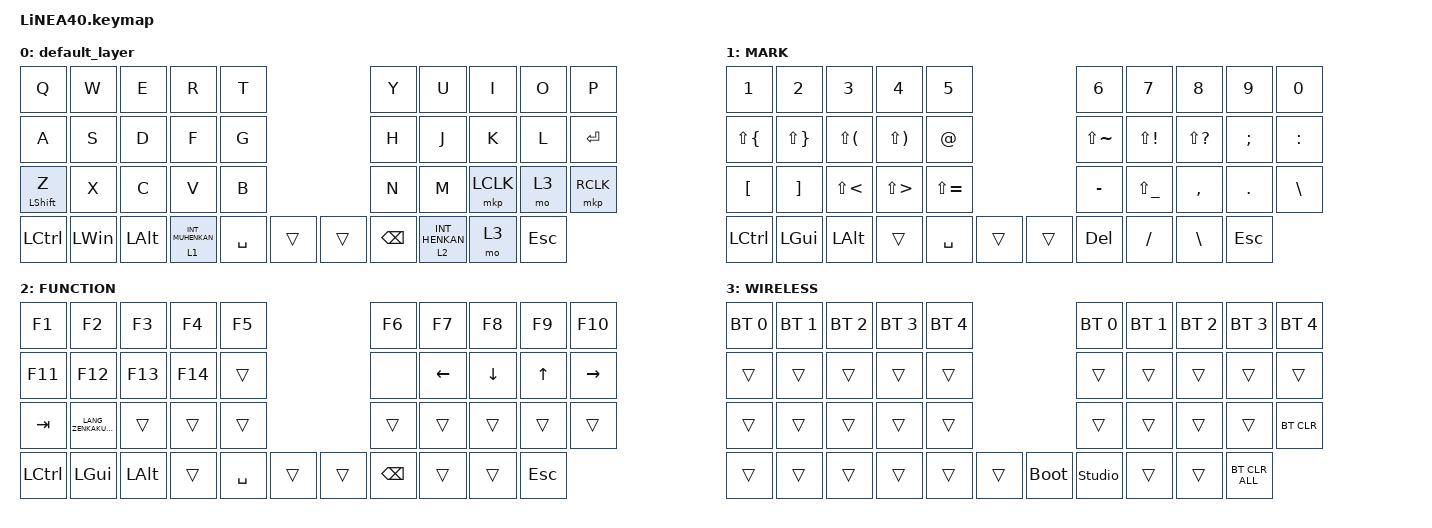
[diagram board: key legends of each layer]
#define ZMK_POINTING_DEFAULT_SCRL_VAL 150

#include <dt-bindings/zmk/input_transform.h>
#include <input/processors.dtsi>
#include <zephyr/dt-bindings/input/input-event-codes.h>
#include <behaviors.dtsi>
#include <dt-bindings/zmk/bt.h>
#include <dt-bindings/zmk/keys.h>
#include <dt-bindings/zmk/pointing.h>

#define MOUSE 1
#define MARK 2
#define CURSOR 3
#define FUNCTION 4
#define SCROLL 5
#define WIRELESS 6

//mouse cursol

&mmv {
    delay-ms = <20>;
    trigger-period-ms = <5>;
    time-to-max-speed-ms = <100>;
    acceleration-exponent = <2>;
};

//mouse scroll

&msc {
    delay-ms = <3>;
    trigger-period-ms = <3>;
    time-to-max-speed-ms = <100>;
    acceleration-exponent = <0>;
};

/ {
    input_processors {
        zip_wheel_scaler: zip_wheel_scaler {
            compatible = "zmk,input-processor-scaler";
            #input-processor-cells = <2>;
            type = <INPUT_EV_REL>;
            codes = <INPUT_REL_WHEEL>;
            track-remainders;
        };
    };
};

&msc_input_listener {
    speed_up {
        layers = <FUNCTION>;
        input-processors = <&zip_wheel_scaler 3 1>; //スクロールを3倍速にする
    };
};

&trackball_listener {
    scroller {
        layers = <SCROLL>;
        input-processors =
            <&zip_xy_transform INPUT_TRANSFORM_Y_INVERT>,
            //スクロール方向を逆転,,,,,
            <&zip_xy_to_scroll_mapper>;
    };
};

/ {
    combos { compatible = "zmk,combos"; };

    behaviors {
        re_kp: sensor_rotate_kp {
            compatible = "zmk,behavior-sensor-rotate-var";
            #sensor-binding-cells = <2>;
            bindings = <&kp>, <&kp>;
        };

        mouse_scrl: mouse_wheel_scrl {
            compatible = "zmk,behavior-sensor-rotate-var";
            #sensor-binding-cells = <2>;
            bindings = <&msc>, <&msc>;

            tap-ms = <20>;
        };
    };

    keymap {
        compatible = "zmk,keymap";

        default_layer {
            bindings = <
&kp Q             &kp W         &kp E     &kp R               &kp T                        &kp Y          &kp U  &kp I             &kp O  &kp P
&kp A             &kp S         &kp D     &kp F               &kp G                        &kp H          &kp J  &kp K             &kp L  &kp ENTER
&mt LEFT_SHIFT Z  &kp X         &kp C     &kp V               &kp B                        &kp N          &kp M  &mkp LCLK         &mo 3  &mkp RCLK
&kp LCTRL         &kp LEFT_WIN  &kp LALT  &lt 1 INT_MUHENKAN  &kp SPACE  &trans    &trans  &kp BACKSPACE         &lt 2 INT_HENKAN  &mo 3  &kp ESCAPE
            >;
        };

        //1

        MARK {
            bindings = <
&kp NUMBER_1  &kp N2        &kp N3        &kp N4        &kp N5                           &kp N6         &kp N7         &kp N8         &kp N9    &kp N0
&kp LS(LBRC)  &kp LS(RBRC)  &kp LS(LPAR)  &kp LS(RPAR)  &kp AT                           &kp LS(TILDE)  &kp LS(EXCL)   &kp LS(QMARK)  &kp SEMI  &kp COLON
&kp LBKT      &kp RBKT      &kp LS(LT)    &kp LS(GT)    &kp LS(EQUAL)                    &kp MINUS      &kp LS(UNDER)  &kp COMMA      &kp DOT   &kp BSLH
&kp LCTRL     &kp LGUI      &kp LALT      &trans        &kp SPACE      &trans    &trans  &kp DEL                       &kp FSLH       &kp BSLH  &kp ESCAPE
            >;
        };

        //2

        FUNCTION {
            bindings = <
&kp F1     &kp F2                   &kp F3    &kp F4   &kp F5                       &kp F6    &kp F7    &kp F8    &kp F9  &kp F10
&kp F11    &kp F12                  &kp F13   &kp F14  &trans                       &none     &kp LEFT  &kp DOWN  &kp UP  &kp RIGHT
&kp TAB    &kp LANG_ZENKAKUHANKAKU  &trans    &trans   &trans                       &trans    &trans    &trans    &trans  &trans
&kp LCTRL  &kp LGUI                 &kp LALT  &trans   &kp SPACE  &trans    &trans  &kp BSPC            &trans    &trans  &kp ESCAPE
            >;
        };

        //3
        //4
        //5
        //6

        WIRELESS {
            bindings = <
&bt BT_SEL 0  &bt BT_SEL 1  &bt BT_SEL 2  &bt BT_SEL 3  &bt BT_SEL 4                         &bt BT_SEL 0    &bt BT_SEL 1  &bt BT_SEL 2  &bt BT_SEL 3  &bt BT_SEL 4
&trans        &trans        &trans        &trans        &trans                               &trans          &trans        &trans        &trans        &trans
&trans        &trans        &trans        &trans        &trans                               &trans          &trans        &trans        &trans        &bt BT_CLR
&trans        &trans        &trans        &trans        &trans        &trans    &bootloader  &studio_unlock                &trans        &trans        &bt BT_CLR_ALL
            >;
        };
    };
};
